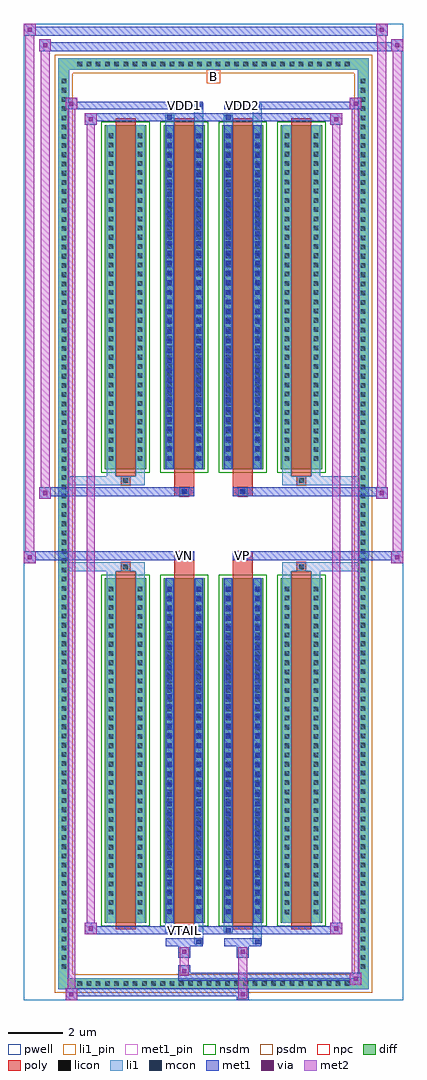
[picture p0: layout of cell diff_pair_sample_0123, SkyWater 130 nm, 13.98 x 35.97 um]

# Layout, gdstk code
import gdstk
lib = gdstk.Library(unit=1e-6, precision=5e-09)
def R(c, l, rs):  # rectangles x0, y0, x1, y1
    for r in rs: c.add(gdstk.rectangle(r[:2], r[2:], *l))
def A(c, l, x, y, w, h, nx, ny, dx, dy):  # array of equal rectangles
    R(c, l, [(x+i*dx, y+j*dy, x+i*dx+w, y+j*dy+h) for i in range(nx) for j in range(ny)])
def P(c, l, *ps):  # polygons
    for p in ps: c.add(gdstk.Polygon(p, *l))
pwell = (64, 44)
diff = (65, 20)
poly = (66, 20)
licon = (66, 44)
li1_pin = (67, 16)
li1 = (67, 20)
mcon = (67, 44)
met1_pin = (68, 16)
met1 = (68, 20)
via = (68, 44)
met2 = (69, 20)
nsdm = (93, 44)
psdm = (94, 20)
npc = (95, 20)

diff_pair_sample_0123 = lib.new_cell('diff_pair_sample_0123')
R(diff_pair_sample_0123, pwell, [(-6.99,-17.55,6.99,18.42), (-4.31,-15.74,-0.01,-0.82), (0.01,-15.74,4.31,-0.82), (-4.31,0.82,-0.01,15.74), (0.01,0.82,4.31,15.74)])
A(diff_pair_sample_0123, diff, -5.135, -17.15, 0.41, 0.41, 30, 2, 0.34, 33.89)
A(diff_pair_sample_0123, diff, -5.72, -16.525, 0.41, 0.41, 1, 97, 0, 0.34)
A(diff_pair_sample_0123, diff, 5.31, -16.525, 0.41, 0.41, 1, 97, 0, 0.34)
A(diff_pair_sample_0123, diff, -4, -14.695, 1.52, 12.69, 4, 2, 2.16, 16.7)
R(diff_pair_sample_0123, diff, [(-5.135,-17.15,5.135,-16.74), (-5.72,-16.525,-5.31,16.525), (5.31,-16.525,5.72,16.525), (-5.135,16.74,5.135,17.15)])
P(diff_pair_sample_0123, diff, [(5.72,17.15),(-5.72,17.15),(-5.72,-16.74),(-5.31,-16.74),(-5.31,16.74),(5.31,16.74),(5.31,-16.74),(-5.31,-16.74),(-5.72,-16.74),(-5.72,-17.15),(5.72,-17.15)])
A(diff_pair_sample_0123, poly, -3.61, -14.945, 0.74, 13.19, 4, 2, 2.16, 16.7)
R(diff_pair_sample_0123, poly, [(-3.405,-1.755,-3.075,-1.425), (-3.405,-1.755,-3.075,-1.425), (-1.45,-1.755,-0.71,-1.35), (0.71,-1.755,1.45,-1.35), (3.075,-1.755,3.405,-1.425), (3.075,-1.755,3.405,-1.425), (-1.45,-1.35,-0.71,-1.02), (-1.245,-1.35,-0.915,-1.02), (0.71,-1.35,1.45,-1.02), (0.915,-1.35,1.245,-1.02), (-1.45,1.02,-0.71,1.35), (-1.245,1.02,-0.915,1.35), (0.71,1.02,1.45,1.35), (0.915,1.02,1.245,1.35), (-1.45,1.35,-0.71,1.755), (0.71,1.35,1.45,1.755), (-3.405,1.425,-3.075,1.755), (-3.405,1.425,-3.075,1.755), (3.075,1.425,3.405,1.755), (3.075,1.425,3.405,1.755)])
A(diff_pair_sample_0123, licon, -5.015, -17.03, 0.17, 0.17, 30, 2, 0.34, 33.89)
A(diff_pair_sample_0123, licon, -5.6, -16.405, 0.17, 0.17, 1, 97, 0, 0.34)
A(diff_pair_sample_0123, licon, 5.43, -16.405, 0.17, 0.17, 1, 97, 0, 0.34)
A(diff_pair_sample_0123, licon, -3.86, -14.385, 0.17, 0.17, 1, 36, 0, 0.34)
A(diff_pair_sample_0123, licon, -2.79, -14.385, 0.17, 0.17, 1, 36, 0, 0.34)
A(diff_pair_sample_0123, licon, -1.7, -14.385, 0.17, 0.17, 1, 36, 0, 0.34)
A(diff_pair_sample_0123, licon, -0.63, -14.385, 0.17, 0.17, 1, 36, 0, 0.34)
A(diff_pair_sample_0123, licon, 0.46, -14.385, 0.17, 0.17, 1, 36, 0, 0.34)
A(diff_pair_sample_0123, licon, 1.53, -14.385, 0.17, 0.17, 1, 36, 0, 0.34)
A(diff_pair_sample_0123, licon, 2.62, -14.385, 0.17, 0.17, 1, 36, 0, 0.34)
A(diff_pair_sample_0123, licon, 3.69, -14.385, 0.17, 0.17, 1, 36, 0, 0.34)
A(diff_pair_sample_0123, licon, -3.86, 2.315, 0.17, 0.17, 1, 36, 0, 0.34)
A(diff_pair_sample_0123, licon, -2.79, 2.315, 0.17, 0.17, 1, 36, 0, 0.34)
A(diff_pair_sample_0123, licon, -1.7, 2.315, 0.17, 0.17, 1, 36, 0, 0.34)
A(diff_pair_sample_0123, licon, -0.63, 2.315, 0.17, 0.17, 1, 36, 0, 0.34)
A(diff_pair_sample_0123, licon, 0.46, 2.315, 0.17, 0.17, 1, 36, 0, 0.34)
A(diff_pair_sample_0123, licon, 1.53, 2.315, 0.17, 0.17, 1, 36, 0, 0.34)
A(diff_pair_sample_0123, licon, 2.62, 2.315, 0.17, 0.17, 1, 36, 0, 0.34)
A(diff_pair_sample_0123, licon, 3.69, 2.315, 0.17, 0.17, 1, 36, 0, 0.34)
R(diff_pair_sample_0123, licon, [(-3.325,-1.675,-3.155,-1.505), (3.155,-1.675,3.325,-1.505), (-1.165,-1.27,-0.995,-1.1), (0.995,-1.27,1.165,-1.1), (-1.165,1.1,-0.995,1.27), (0.995,1.1,1.165,1.27), (-3.325,1.505,-3.155,1.675), (3.155,1.505,3.325,1.675)])
R(diff_pair_sample_0123, li1_pin, [(-0.25,16.24,0.25,16.74)])
A(diff_pair_sample_0123, li1, -5.095, -17.11, 0.33, 0.33, 30, 2, 0.34, 33.89)
A(diff_pair_sample_0123, li1, -5.68, -16.485, 0.33, 0.33, 1, 97, 0, 0.34)
A(diff_pair_sample_0123, li1, 5.35, -16.485, 0.33, 0.33, 1, 97, 0, 0.34)
A(diff_pair_sample_0123, li1, -3.94, -14.465, 0.33, 0.33, 1, 36, 0, 0.34)
A(diff_pair_sample_0123, li1, -2.87, -14.465, 0.33, 0.33, 1, 36, 0, 0.34)
A(diff_pair_sample_0123, li1, -1.78, -14.465, 0.33, 0.33, 1, 36, 0, 0.34)
A(diff_pair_sample_0123, li1, -0.71, -14.465, 0.33, 0.33, 1, 36, 0, 0.34)
A(diff_pair_sample_0123, li1, 0.38, -14.465, 0.33, 0.33, 1, 36, 0, 0.34)
A(diff_pair_sample_0123, li1, 1.45, -14.465, 0.33, 0.33, 1, 36, 0, 0.34)
A(diff_pair_sample_0123, li1, 2.54, -14.465, 0.33, 0.33, 1, 36, 0, 0.34)
A(diff_pair_sample_0123, li1, 3.61, -14.465, 0.33, 0.33, 1, 36, 0, 0.34)
A(diff_pair_sample_0123, li1, -1.7, -14.375, 0.17, 0.17, 1, 34, 0, 0.36)
A(diff_pair_sample_0123, li1, -0.63, -14.375, 0.17, 0.17, 1, 34, 0, 0.36)
A(diff_pair_sample_0123, li1, 0.46, -14.375, 0.17, 0.17, 1, 34, 0, 0.36)
A(diff_pair_sample_0123, li1, 1.53, -14.375, 0.17, 0.17, 1, 34, 0, 0.36)
A(diff_pair_sample_0123, li1, -3.94, 2.235, 0.33, 0.33, 1, 36, 0, 0.34)
A(diff_pair_sample_0123, li1, -2.87, 2.235, 0.33, 0.33, 1, 36, 0, 0.34)
A(diff_pair_sample_0123, li1, -1.78, 2.235, 0.33, 0.33, 1, 36, 0, 0.34)
A(diff_pair_sample_0123, li1, -0.71, 2.235, 0.33, 0.33, 1, 36, 0, 0.34)
A(diff_pair_sample_0123, li1, 0.38, 2.235, 0.33, 0.33, 1, 36, 0, 0.34)
A(diff_pair_sample_0123, li1, 1.45, 2.235, 0.33, 0.33, 1, 36, 0, 0.34)
A(diff_pair_sample_0123, li1, 2.54, 2.235, 0.33, 0.33, 1, 36, 0, 0.34)
A(diff_pair_sample_0123, li1, 3.61, 2.235, 0.33, 0.33, 1, 36, 0, 0.34)
A(diff_pair_sample_0123, li1, -1.7, 2.325, 0.17, 0.17, 1, 34, 0, 0.36)
A(diff_pair_sample_0123, li1, -0.63, 2.325, 0.17, 0.17, 1, 34, 0, 0.36)
A(diff_pair_sample_0123, li1, 0.46, 2.325, 0.17, 0.17, 1, 34, 0, 0.36)
A(diff_pair_sample_0123, li1, 1.53, 2.325, 0.17, 0.17, 1, 34, 0, 0.36)
R(diff_pair_sample_0123, li1, [(-5.72,-17.15,-5.31,-16.74), (-5.72,-17.15,-5.31,-16.74), (-5.31,-17.15,5.31,-16.74), (5.31,-17.15,5.72,-16.74), (5.31,-17.15,5.72,-16.74), (-5.72,-16.74,-5.31,16.74), (5.31,-16.74,5.72,16.74), (-0.71,-15.5,-0.38,-14.695), (-0.63,-15.5,-0.46,-15.33), (1.45,-15.5,1.78,-14.695), (1.53,-15.5,1.7,-15.33), (-1.78,-15.07,-1.45,-14.695), (-1.7,-15.07,-1.53,-14.9), (0.38,-15.07,0.71,-14.695), (0.46,-15.07,0.63,-14.9), (-3.94,-14.695,-3.61,-2.005), (-2.87,-14.695,-2.54,-2.005), (-1.78,-14.695,-1.45,-2.005), (-0.71,-14.695,-0.38,-2.005), (0.38,-14.695,0.71,-2.005), (1.45,-14.695,1.78,-2.005), (2.54,-14.695,2.87,-2.005), (3.61,-14.695,3.94,-2.005), (-1.7,-14.375,-1.53,-2.325), (-0.63,-14.375,-0.46,-2.325), (0.46,-14.375,0.63,-2.325), (1.53,-14.375,1.7,-2.325), (-3.94,-2.005,-3.61,-1.425), (-2.87,-2.005,-2.54,-1.425), (2.54,-2.005,2.87,-1.425), (3.61,-2.005,3.94,-1.425), (-5.72,-1.755,-3.405,-1.425), (-3.94,-1.755,-3.405,-1.425), (-3.405,-1.755,-3.075,-1.425), (-3.075,-1.755,-2.54,-1.425), (2.54,-1.755,3.075,-1.425), (3.075,-1.755,3.405,-1.425), (3.075,-1.755,5.72,-1.425), (3.405,-1.755,3.94,-1.425), (-1.245,-1.35,-0.915,-1.02), (0.915,-1.35,1.245,-1.02), (-1.245,1.02,-0.915,1.35), (0.915,1.02,1.245,1.35), (-5.72,1.425,-3.405,1.755), (-3.94,1.425,-3.405,1.755), (-3.94,1.425,-3.61,2.005), (-3.405,1.425,-3.075,1.755), (-3.075,1.425,-2.54,1.755), (-2.87,1.425,-2.54,2.005), (2.54,1.425,3.075,1.755), (2.54,1.425,2.87,2.005), (3.075,1.425,3.405,1.755), (3.075,1.425,5.72,1.755), (3.405,1.425,3.94,1.755), (3.61,1.425,3.94,2.005), (-3.94,2.005,-3.61,14.695), (-2.87,2.005,-2.54,14.695), (-1.78,2.005,-1.45,14.695), (-0.71,2.005,-0.38,14.695), (0.38,2.005,0.71,14.695), (1.45,2.005,1.78,14.695), (2.54,2.005,2.87,14.695), (3.61,2.005,3.94,14.695), (-1.7,2.325,-1.53,14.375), (-0.63,2.325,-0.46,14.375), (0.46,2.325,0.63,14.375), (1.53,2.325,1.7,14.375), (-1.78,14.695,-1.45,15.07), (-0.71,14.695,-0.38,15.5), (0.38,14.695,0.71,15.07), (1.45,14.695,1.78,15.5), (-1.7,14.9,-1.53,15.07), (0.46,14.9,0.63,15.07), (-0.63,15.33,-0.46,15.5), (1.53,15.33,1.7,15.5), (-5.72,16.74,-5.31,17.15), (-5.72,16.74,-5.31,17.15), (-5.31,16.74,5.31,17.15), (5.31,16.74,5.72,17.15), (5.31,16.74,5.72,17.15)])
A(diff_pair_sample_0123, mcon, -1.7, -14.375, 0.17, 0.17, 1, 34, 0, 0.36)
A(diff_pair_sample_0123, mcon, -0.63, -14.375, 0.17, 0.17, 1, 34, 0, 0.36)
A(diff_pair_sample_0123, mcon, 0.46, -14.375, 0.17, 0.17, 1, 34, 0, 0.36)
A(diff_pair_sample_0123, mcon, 1.53, -14.375, 0.17, 0.17, 1, 34, 0, 0.36)
A(diff_pair_sample_0123, mcon, -1.7, 2.325, 0.17, 0.17, 1, 34, 0, 0.36)
A(diff_pair_sample_0123, mcon, -0.63, 2.325, 0.17, 0.17, 1, 34, 0, 0.36)
A(diff_pair_sample_0123, mcon, 0.46, 2.325, 0.17, 0.17, 1, 34, 0, 0.36)
A(diff_pair_sample_0123, mcon, 1.53, 2.325, 0.17, 0.17, 1, 34, 0, 0.36)
R(diff_pair_sample_0123, mcon, [(-0.63,-15.5,-0.46,-15.33), (1.53,-15.5,1.7,-15.33), (-1.7,-15.07,-1.53,-14.9), (0.46,-15.07,0.63,-14.9), (-1.165,-1.27,-0.995,-1.1), (0.995,-1.27,1.165,-1.1), (-1.165,1.1,-0.995,1.27), (0.995,1.1,1.165,1.27), (-1.7,14.9,-1.53,15.07), (0.46,14.9,0.63,15.07), (-0.63,15.33,-0.46,15.5), (1.53,15.33,1.7,15.5)])
R(diff_pair_sample_0123, met1_pin, [(-1.215,-15.11,-0.945,-14.84), (-1.215,-1.29,-0.945,-1.02), (0.945,-1.29,1.215,-1.02), (-1.215,15.29,-0.945,15.56), (0.945,15.29,1.215,15.56)])
A(diff_pair_sample_0123, met1, -1.76, -14.435, 0.29, 0.29, 1, 34, 0, 0.36)
A(diff_pair_sample_0123, met1, -0.69, -14.435, 0.29, 0.29, 1, 34, 0, 0.36)
A(diff_pair_sample_0123, met1, 0.4, -14.435, 0.29, 0.29, 1, 34, 0, 0.36)
A(diff_pair_sample_0123, met1, 1.47, -14.435, 0.29, 0.29, 1, 34, 0, 0.36)
A(diff_pair_sample_0123, met1, -1.76, 2.265, 0.29, 0.29, 1, 34, 0, 0.36)
A(diff_pair_sample_0123, met1, -0.69, 2.265, 0.29, 0.29, 1, 34, 0, 0.36)
A(diff_pair_sample_0123, met1, 0.4, 2.265, 0.29, 0.29, 1, 34, 0, 0.36)
A(diff_pair_sample_0123, met1, 1.47, 2.265, 0.29, 0.29, 1, 34, 0, 0.36)
R(diff_pair_sample_0123, met1, [(-5.45,-17.55,-5.02,-17.12), (0.865,-17.55,1.295,-17.12), (-5.45,-17.41,1.295,-17.12), (5.02,-16.98,5.45,-16.55), (-1.295,-16.84,5.45,-16.55), (-1.295,-16.7,-0.865,-16.27), (-1.295,-15.99,-0.865,-15.56), (0.865,-15.99,1.295,-15.56), (-1.76,-15.56,-0.4,-15.27), (-0.69,-15.56,-0.4,-15.27), (0.4,-15.56,1.76,-15.27), (1.47,-15.56,1.76,-15.27), (-4.74,-15.13,-4.31,-14.7), (-4.74,-15.13,-1.76,-14.84), (-1.76,-15.13,-1.47,-14.84), (-1.76,-15.13,-0.4,-14.84), (-0.4,-15.13,0.4,-14.84), (0.4,-15.13,0.69,-14.84), (0.4,-15.13,1.76,-14.84), (1.76,-15.13,4.74,-14.84), (4.31,-15.13,4.74,-14.7), (-1.76,-14.695,-1.47,-2.005), (-0.69,-14.695,-0.4,-2.005), (0.4,-14.695,0.69,-2.005), (1.47,-14.695,1.76,-2.005), (-6.99,-1.45,-6.56,-1.02), (6.56,-1.45,6.99,-1.02), (-6.99,-1.35,-0.71,-1.02), (-1.45,-1.35,-0.71,-1.02), (0.71,-1.35,1.45,-1.02), (0.71,-1.35,6.99,-1.02), (-1.225,-1.33,-0.935,-1.04), (0.935,-1.33,1.225,-1.04), (-6.42,0.92,-5.99,1.35), (5.99,0.92,6.42,1.35), (-6.42,1.02,-1.45,1.35), (-1.45,1.02,-0.71,1.35), (0.71,1.02,1.45,1.35), (1.45,1.02,6.42,1.35), (-1.225,1.04,-0.935,1.33), (0.935,1.04,1.225,1.33), (-1.76,2.005,-1.47,14.695), (-0.69,2.005,-0.4,14.695), (0.4,2.005,0.69,14.695), (1.47,2.005,1.76,14.695), (-4.74,14.7,-4.31,15.13), (4.31,14.7,4.74,15.13), (-4.74,14.84,-1.76,15.13), (-1.76,14.84,-1.47,15.13), (-1.76,14.84,-0.4,15.13), (-0.4,14.84,0.4,15.13), (0.4,14.84,0.69,15.13), (0.4,14.84,1.76,15.13), (1.76,14.84,4.74,15.13), (-5.45,15.27,-5.02,15.7), (-5.45,15.27,-1.76,15.56), (-1.76,15.27,-0.4,15.56), (-0.69,15.27,-0.4,15.56), (0.4,15.27,1.76,15.56), (1.47,15.27,1.76,15.56), (1.76,15.27,5.45,15.56), (5.02,15.27,5.45,15.7), (-6.42,17.42,-5.99,17.85), (-6.42,17.42,-4.31,17.75), (-4.31,17.42,4.31,17.75), (4.31,17.42,6.99,17.75), (6.56,17.42,6.99,17.85), (-6.99,17.99,-6.56,18.42), (-6.99,17.99,-4.31,18.32), (-4.31,17.99,4.31,18.32), (4.31,17.99,6.42,18.32), (5.99,17.99,6.42,18.42)])
R(diff_pair_sample_0123, via, [(-5.31,-17.41,-5.16,-17.26), (1.005,-17.41,1.155,-17.26), (5.16,-16.84,5.31,-16.69), (-1.155,-16.56,-1.005,-16.41), (-1.155,-15.85,-1.005,-15.7), (1.005,-15.85,1.155,-15.7), (-4.6,-14.99,-4.45,-14.84), (4.45,-14.99,4.6,-14.84), (-6.85,-1.31,-6.7,-1.16), (6.7,-1.31,6.85,-1.16), (-6.28,1.06,-6.13,1.21), (6.13,1.06,6.28,1.21), (-4.6,14.84,-4.45,14.99), (4.45,14.84,4.6,14.99), (-5.31,15.41,-5.16,15.56), (5.16,15.41,5.31,15.56), (-6.28,17.56,-6.13,17.71), (6.7,17.56,6.85,17.71), (-6.85,18.13,-6.7,18.28), (6.13,18.13,6.28,18.28)])
R(diff_pair_sample_0123, met2, [(-5.45,-17.55,-5.02,-17.12), (-5.38,-17.55,-5.09,15.7), (-5.09,-17.55,-5.02,-17.12), (-5.4,-17.5,-5.07,-17.17), (0.915,-17.5,1.245,-17.17), (0.915,-17.17,1.245,-15.94), (5.02,-16.98,5.45,-16.55), (5.09,-16.98,5.38,15.7), (5.38,-16.98,5.45,-16.55), (5.07,-16.93,5.4,-16.6), (-1.245,-16.65,-0.915,-16.32), (-1.245,-16.32,-0.915,-15.94), (-1.245,-15.94,-0.915,-15.61), (0.915,-15.94,1.245,-15.61), (-4.74,-15.13,-4.31,-14.7), (-4.67,-15.13,-4.38,15.13), (-4.38,-15.13,-4.31,-14.7), (4.31,-15.13,4.74,-14.7), (4.38,-15.13,4.67,15.13), (4.67,-15.13,4.74,-14.7), (-4.69,-15.08,-4.36,-14.75), (4.36,-15.08,4.69,-14.75), (-6.99,-1.45,-6.56,-1.02), (-6.94,-1.45,-6.61,18.42), (-6.61,-1.45,-6.56,-1.02), (6.56,-1.45,6.99,-1.02), (6.61,-1.45,6.94,17.85), (6.94,-1.45,6.99,-1.02), (-6.94,-1.4,-6.61,-1.07), (6.61,-1.4,6.94,-1.07), (-6.42,0.92,-5.99,1.35), (-6.37,0.92,-6.04,17.85), (-6.04,0.92,-5.99,1.35), (5.99,0.92,6.42,1.35), (6.04,0.92,6.37,18.42), (6.37,0.92,6.42,1.35), (-6.37,0.97,-6.04,1.3), (6.04,0.97,6.37,1.3), (-4.74,14.7,-4.31,15.13), (-4.38,14.7,-4.31,15.13), (4.31,14.7,4.74,15.13), (4.67,14.7,4.74,15.13), (-4.69,14.75,-4.36,15.08), (4.36,14.75,4.69,15.08), (-5.45,15.27,-5.02,15.7), (-5.09,15.27,-5.02,15.7), (5.02,15.27,5.45,15.7), (5.38,15.27,5.45,15.7), (-5.4,15.32,-5.07,15.65), (5.07,15.32,5.4,15.65), (-6.42,17.42,-5.99,17.85), (-6.04,17.42,-5.99,17.85), (6.56,17.42,6.99,17.85), (6.94,17.42,6.99,17.85), (-6.37,17.47,-6.04,17.8), (6.61,17.47,6.94,17.8), (-6.99,17.99,-6.56,18.42), (-6.61,17.99,-6.56,18.42), (5.99,17.99,6.42,18.42), (6.37,17.99,6.42,18.42), (-6.94,18.04,-6.61,18.37), (6.04,18.04,6.37,18.37)])
A(diff_pair_sample_0123, nsdm, -4.13, -14.825, 1.78, 12.95, 4, 2, 2.16, 16.7)
P(diff_pair_sample_0123, psdm, [(5.85,17.28),(-5.85,17.28),(-5.85,-16.61),(-5.18,-16.61),(-5.18,16.61),(5.18,16.61),(5.18,-16.61),(-5.18,-16.61),(-5.85,-16.61),(-5.85,-17.28),(5.85,-17.28)])
R(diff_pair_sample_0123, npc, [(-3.425,-1.775,-3.055,-1.405), (3.055,-1.775,3.425,-1.405), (-1.265,-1.37,-0.895,-1), (0.895,-1.37,1.265,-1), (-1.265,1,-0.895,1.37), (0.895,1,1.265,1.37), (-3.425,1.405,-3.055,1.775), (3.055,1.405,3.425,1.775)])
diff_pair_sample_0123.add(gdstk.Label('VTAIL', (-1.08,-14.975), layer=68, texttype=5))
diff_pair_sample_0123.add(gdstk.Label('VN', (-1.08,-1.155), layer=68, texttype=5))
diff_pair_sample_0123.add(gdstk.Label('VP', (1.08,-1.155), layer=68, texttype=5))
diff_pair_sample_0123.add(gdstk.Label('B', (0,16.49), layer=67, texttype=5))
diff_pair_sample_0123.add(gdstk.Label('VDD2', (1.08,15.425), layer=68, texttype=5))
diff_pair_sample_0123.add(gdstk.Label('VDD1', (-1.08,15.425), layer=68, texttype=5))

lib.write_gds('diff_pair_sample_0123.gds')
